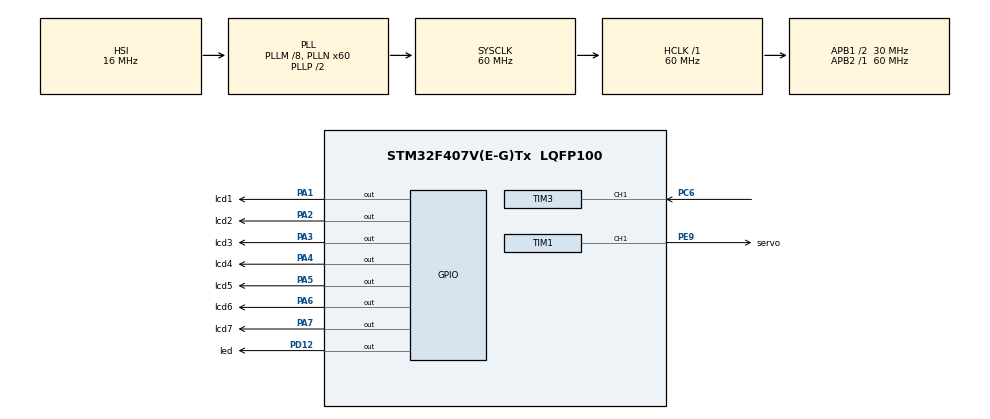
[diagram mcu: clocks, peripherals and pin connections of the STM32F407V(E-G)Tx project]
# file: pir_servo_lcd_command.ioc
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Mcu.Family=STM32F4
Mcu.Name=STM32F407V(E-G)Tx
Mcu.Package=LQFP100
NVIC.PriorityGroup=NVIC_PRIORITYGROUP_4
NVIC.TIM3_IRQn=true\:0\:0\:false\:false\:true\:true\:true\:true
PA1.GPIO_Label=lcd1
PA1.Signal=GPIO_Output
PA2.GPIO_Label=lcd2
PA2.Signal=GPIO_Output
PA3.GPIO_Label=lcd3
PA3.Signal=GPIO_Output
PA4.GPIO_Label=lcd4
PA4.Signal=GPIO_Output
PA5.GPIO_Label=lcd5
PA5.Signal=GPIO_Output
PA6.GPIO_Label=lcd6
PA6.Signal=GPIO_Output
PA7.GPIO_Label=lcd7
PA7.Signal=GPIO_Output
PC6.Signal=S_TIM3_CH1
PD12.GPIO_Label=led
PD12.Signal=GPIO_Output
PE9.GPIO_Label=servo
PE9.Signal=S_TIM1_CH1
ProjectManager.HeapSize=0x200
ProjectManager.StackSize=0x400
ProjectManager.TargetToolchain=STM32CubeIDE
RCC.48MHZClocksFreq_Value=30000000
RCC.AHBFreq_Value=60000000
RCC.APB1CLKDivider=RCC_HCLK_DIV2
RCC.APB1Freq_Value=30000000
RCC.APB1TimFreq_Value=60000000
RCC.APB2Freq_Value=60000000
RCC.APB2TimFreq_Value=60000000
RCC.CortexFreq_Value=60000000
RCC.HCLKFreq_Value=60000000
RCC.HSE_VALUE=25000000
RCC.HSI_VALUE=16000000
RCC.LSE_VALUE=32768
RCC.PLLM=8
RCC.PLLN=60
RCC.SYSCLKFreq_VALUE=60000000
RCC.SYSCLKSource=RCC_SYSCLKSOURCE_PLLCLK
RCC.VCOOutputFreq_Value=120000000
SH.S_TIM1_CH1.0=TIM1_CH1,PWM Generation1 CH1
SH.S_TIM3_CH1.0=TIM3_CH1,Input_Capture1_from_TI1
TIM1.Channel-PWM\ Generation1\ CH1=TIM_CHANNEL_1
TIM1.Period=1000-1
TIM1.Prescaler=1200-1
TIM2.Period=0xffff-1
TIM2.Prescaler=60-1
TIM3.Channel-Input_Capture1_from_TI1=TIM_CHANNEL_1
TIM3.Prescaler=60-1
VP_TIM1_VS_ClockSourceINT.Mode=Internal
VP_TIM2_VS_ClockSourceINT.Mode=Internal
board=custom

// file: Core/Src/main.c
/* USER CODE BEGIN Header */
/**
  ******************************************************************************
  * @file           : main.c
  * @brief          : Main program body
  ******************************************************************************
  * @attention
  *
  * Copyright (c) 2025 STMicroelectronics.
  * All rights reserved.
  *
  * This software is licensed under terms that can be found in the LICENSE file
  * in the root directory of this software component.
  * If no LICENSE file comes with this software, it is provided AS-IS.
  *
  ******************************************************************************
  */
/* USER CODE END Header */
#include "main.h"

/* USER CODE BEGIN Includes */
#include "lcd.h"// Include the LCD library
/* USER CODE END Includes */

TIM_HandleTypeDef htim1;
TIM_HandleTypeDef htim2;
TIM_HandleTypeDef htim3;

/* USER CODE BEGIN PV */
// IR decoding variables
volatile uint8_t bitCount=0;
volatile uint8_t isStartCaptured=0;
volatile uint32_t receivedData=0;
static volatile uint8_t isRisingCaptured=0;
static volatile uint32_t IC_Value=0;

// Flag to indicate 32-bit data received
volatile uint8_t dataReady = 0; // 32 bit alındığında veri gönderilsin diye

// Password and user input
int buttonNumber;
int password[4];// User input password
int acceptValue=0; // Number of digits entered
int passwordCorrect[4] = {0, 1, 2, 3};// Correct password

/* USER CODE END PV */

void SystemClock_Config(void);
static void MX_GPIO_Init(void);
static void MX_TIM1_Init(void);
static void MX_TIM2_Init(void);
static void MX_TIM3_Init(void);
/* USER CODE BEGIN PFP */
int IR_GetButtonNumber(uint32_t receivedData); // Function to map IR code to button number

/**
 * @brief  Timer Input Capture callback
 * @param  htim: Timer handle
 * @retval None
 *
 * This ISR handles IR input capture and decodes 32-bit data.
 * Data ready flag is set when a complete code is received.
 */
void HAL_TIM_IC_CaptureCallback(TIM_HandleTypeDef *htim)
{
    if (htim->Instance == TIM3) {// TIM3: IR input capture

        IC_Value = HAL_TIM_ReadCapturedValue(htim, TIM_CHANNEL_1);
        __HAL_TIM_SET_COUNTER(htim, 0); // Reset timer

        // Detect start bit
        if (bitCount == 0 && isStartCaptured == 0 && receivedData == 0) {
            isStartCaptured = 1;
        }
        else if (bitCount == 0 && isStartCaptured == 1 && receivedData == 0) {
            __HAL_TIM_SET_COUNTER(htim, 0);
            isStartCaptured = 2;
        }
        // Decode data bits
        else if (bitCount < 32) {
            IC_Value = HAL_TIM_ReadCapturedValue(htim, TIM_CHANNEL_1);
            __HAL_TIM_SET_COUNTER(htim, 0);

            // Logic '0'
            if (IC_Value > 800 && IC_Value < 1600) {
                receivedData &= ~(1 << bitCount);
            }
            // Logic '1'
            else if (IC_Value > 1800 && IC_Value < 2600) {
                receivedData |= (1 << bitCount);
            }

            bitCount++;
            // 32-bit code received
            if (bitCount == 32) {
                dataReady = 1; // <<< burada veri hazır işaretle
                HAL_TIM_IC_Stop_IT(&htim3, TIM_CHANNEL_1);
            }
        }
    }
}

/* USER CODE END PFP */

/* USER CODE BEGIN 0 */
/**
 * @brief  Convert 32-bit integer to hex string
 * @param  data: 32-bit data
 * @param  pData: Buffer to store hex string (minimum 10 bytes)
 */
void uint32_to_hex(uint32_t data, uint8_t *pData){
    for(int i=7; i>=0; i--){
        uint8_t nibble = (data >> (4*i)) & 0xF;
        pData[7-i] = (nibble < 10) ? ('0' + nibble) : ('A' + nibble - 10);
    }
    pData[8] = '\r';
    pData[9] = '\n';
}
/* USER CODE END 0 */

int main(void)
{

  /* MCU Configuration--------------------------------------------------------*/

  /* Reset of all peripherals, Initializes the Flash interface and the Systick. */
  HAL_Init();

  /* Configure the system clock */
  SystemClock_Config();

  /* Initialize all configured peripherals */
  MX_GPIO_Init();
  MX_TIM1_Init();
  MX_TIM2_Init();
  MX_TIM3_Init();
  /* USER CODE BEGIN 2 */
  HAL_TIM_IC_Start_IT(&htim3, TIM_CHANNEL_1);// Start IR capture interrupt
  HAL_TIM_PWM_Start(&htim1,TIM_CHANNEL_1);// Start servo PWM
  HAL_TIM_Base_Start(&htim2);// Start timer for LCD

  lcd_init(); // Initialize the LCD
  lcd_put_cur(0,0);
  lcd_send_string("Login password");// Display initial message

  //lcd_clear();// Clear LCD after greeting
  /* USER CODE END 2 */

  /* Infinite loop */
  while (1)
  {

    /* USER CODE BEGIN 3 */
	  if (dataReady) {// Process received IR data
		  buttonNumber = IR_GetButtonNumber(receivedData);

	      if (buttonNumber != 1001) {// Valid button
	          password[acceptValue] = buttonNumber;
	          acceptValue++;

	          if (acceptValue == 4) {// Check password
	              int isCorrect = 1;
	              for (int i = 0; i < 4; i++) {
	                  if (passwordCorrect[i] != password[i]) {
	                      isCorrect = 0;
	                      break;
	                  }
	              }
	              lcd_clear();
	              if (isCorrect) {

					  lcd_put_cur(0,0);
					  lcd_send_string("Correct password");
					  HAL_Delay(50);
					  // Open door sequence
					  __HAL_TIM_SET_COMPARE(&htim1, TIM_CHANNEL_1, 50);  // Move servo to open position
					  HAL_GPIO_WritePin(GPIOD, GPIO_PIN_12, GPIO_PIN_SET);  // Turn on LED
					  HAL_Delay(2000);
					  __HAL_TIM_SET_COMPARE(&htim1, TIM_CHANNEL_1, 75); // Stop servo
					  HAL_Delay(2000);
					  __HAL_TIM_SET_COMPARE(&htim1, TIM_CHANNEL_1, 100); // Move servo to close position
					  HAL_Delay(2000);
					  __HAL_TIM_SET_COMPARE(&htim1, TIM_CHANNEL_1, 75); // Stop servo
					  HAL_GPIO_WritePin(GPIOD, GPIO_PIN_12, GPIO_PIN_RESET); // Turn off LED
					  lcd_put_cur(0,0);
					  lcd_send_string("Login password  ");
					  HAL_Delay(50);
	              } else {
					  lcd_put_cur(0,0);
					  lcd_send_string("Wrong password");
					  HAL_Delay(50);

	              }

	              acceptValue = 0; // Reset input
	          }

	      }
	      // Display remaining digits
	      if(acceptValue!=0){
	    	  if(acceptValue!=0){
	    		  lcd_put_cur(0,0);
				  lcd_send_string("Remaining Number");
	    	  }
			  lcd_put_cur(1,0);
			  char buf[16];
			  sprintf(buf, "%d   ", 4-acceptValue);
			  lcd_send_string(buf);
			  HAL_Delay(50);

	      }

	      // Reset flags for next capture
	      bitCount = 0;
	      receivedData = 0;
	      isStartCaptured = 0;
	      dataReady = 0;
	      HAL_TIM_IC_Start_IT(&htim3, TIM_CHANNEL_1);
	  }
  }
  /* USER CODE END 3 */
}

void SystemClock_Config(void)
{
  RCC_OscInitTypeDef RCC_OscInitStruct = {0};
  RCC_ClkInitTypeDef RCC_ClkInitStruct = {0};

  /** Configure the main internal regulator output voltage
  */
  __HAL_RCC_PWR_CLK_ENABLE();
  __HAL_PWR_VOLTAGESCALING_CONFIG(PWR_REGULATOR_VOLTAGE_SCALE1);

  /** Initializes the RCC Oscillators according to the specified parameters
  * in the RCC_OscInitTypeDef structure.
  */
  RCC_OscInitStruct.OscillatorType = RCC_OSCILLATORTYPE_HSI;
  RCC_OscInitStruct.HSIState = RCC_HSI_ON;
  RCC_OscInitStruct.HSICalibrationValue = RCC_HSICALIBRATION_DEFAULT;
  RCC_OscInitStruct.PLL.PLLState = RCC_PLL_ON;
  RCC_OscInitStruct.PLL.PLLSource = RCC_PLLSOURCE_HSI;
  RCC_OscInitStruct.PLL.PLLM = 8;
  RCC_OscInitStruct.PLL.PLLN = 60;
  RCC_OscInitStruct.PLL.PLLP = RCC_PLLP_DIV2;
  RCC_OscInitStruct.PLL.PLLQ = 4;
  if (HAL_RCC_OscConfig(&RCC_OscInitStruct) != HAL_OK)
  {
    Error_Handler();
  }

  /** Initializes the CPU, AHB and APB buses clocks
  */
  RCC_ClkInitStruct.ClockType = RCC_CLOCKTYPE_HCLK|RCC_CLOCKTYPE_SYSCLK
                              |RCC_CLOCKTYPE_PCLK1|RCC_CLOCKTYPE_PCLK2;
  RCC_ClkInitStruct.SYSCLKSource = RCC_SYSCLKSOURCE_PLLCLK;
  RCC_ClkInitStruct.AHBCLKDivider = RCC_SYSCLK_DIV1;
  RCC_ClkInitStruct.APB1CLKDivider = RCC_HCLK_DIV2;
  RCC_ClkInitStruct.APB2CLKDivider = RCC_HCLK_DIV1;

  if (HAL_RCC_ClockConfig(&RCC_ClkInitStruct, FLASH_LATENCY_1) != HAL_OK)
  {
    Error_Handler();
  }
}

static void MX_TIM1_Init(void)
{

  TIM_ClockConfigTypeDef sClockSourceConfig = {0};
  TIM_MasterConfigTypeDef sMasterConfig = {0};
  TIM_OC_InitTypeDef sConfigOC = {0};
  TIM_BreakDeadTimeConfigTypeDef sBreakDeadTimeConfig = {0};

  htim1.Instance = TIM1;
  htim1.Init.Prescaler = 1200-1;
  htim1.Init.CounterMode = TIM_COUNTERMODE_UP;
  htim1.Init.Period = 1000-1;
  htim1.Init.ClockDivision = TIM_CLOCKDIVISION_DIV1;
  htim1.Init.RepetitionCounter = 0;
  htim1.Init.AutoReloadPreload = TIM_AUTORELOAD_PRELOAD_DISABLE;
  if (HAL_TIM_Base_Init(&htim1) != HAL_OK)
  {
    Error_Handler();
  }
  sClockSourceConfig.ClockSource = TIM_CLOCKSOURCE_INTERNAL;
  if (HAL_TIM_ConfigClockSource(&htim1, &sClockSourceConfig) != HAL_OK)
  {
    Error_Handler();
  }
  if (HAL_TIM_PWM_Init(&htim1) != HAL_OK)
  {
    Error_Handler();
  }
  sMasterConfig.MasterOutputTrigger = TIM_TRGO_RESET;
  sMasterConfig.MasterSlaveMode = TIM_MASTERSLAVEMODE_DISABLE;
  if (HAL_TIMEx_MasterConfigSynchronization(&htim1, &sMasterConfig) != HAL_OK)
  {
    Error_Handler();
  }
  sConfigOC.OCMode = TIM_OCMODE_PWM1;
  sConfigOC.Pulse = 0;
  sConfigOC.OCPolarity = TIM_OCPOLARITY_HIGH;
  sConfigOC.OCNPolarity = TIM_OCNPOLARITY_HIGH;
  sConfigOC.OCFastMode = TIM_OCFAST_DISABLE;
  sConfigOC.OCIdleState = TIM_OCIDLESTATE_RESET;
  sConfigOC.OCNIdleState = TIM_OCNIDLESTATE_RESET;
  if (HAL_TIM_PWM_ConfigChannel(&htim1, &sConfigOC, TIM_CHANNEL_1) != HAL_OK)
  {
    Error_Handler();
  }
  sBreakDeadTimeConfig.OffStateRunMode = TIM_OSSR_DISABLE;
  sBreakDeadTimeConfig.OffStateIDLEMode = TIM_OSSI_DISABLE;
  sBreakDeadTimeConfig.LockLevel = TIM_LOCKLEVEL_OFF;
  sBreakDeadTimeConfig.DeadTime = 0;
  sBreakDeadTimeConfig.BreakState = TIM_BREAK_DISABLE;
  sBreakDeadTimeConfig.BreakPolarity = TIM_BREAKPOLARITY_HIGH;
  sBreakDeadTimeConfig.AutomaticOutput = TIM_AUTOMATICOUTPUT_DISABLE;
  if (HAL_TIMEx_ConfigBreakDeadTime(&htim1, &sBreakDeadTimeConfig) != HAL_OK)
  {
    Error_Handler();
  }
  HAL_TIM_MspPostInit(&htim1);

}

static void MX_TIM2_Init(void)
{

  TIM_ClockConfigTypeDef sClockSourceConfig = {0};
  TIM_MasterConfigTypeDef sMasterConfig = {0};

  htim2.Instance = TIM2;
  htim2.Init.Prescaler = 60-1;
  htim2.Init.CounterMode = TIM_COUNTERMODE_UP;
  htim2.Init.Period = 0xffff-1;
  htim2.Init.ClockDivision = TIM_CLOCKDIVISION_DIV1;
  htim2.Init.AutoReloadPreload = TIM_AUTORELOAD_PRELOAD_DISABLE;
  if (HAL_TIM_Base_Init(&htim2) != HAL_OK)
  {
    Error_Handler();
  }
  sClockSourceConfig.ClockSource = TIM_CLOCKSOURCE_INTERNAL;
  if (HAL_TIM_ConfigClockSource(&htim2, &sClockSourceConfig) != HAL_OK)
  {
    Error_Handler();
  }
  sMasterConfig.MasterOutputTrigger = TIM_TRGO_RESET;
  sMasterConfig.MasterSlaveMode = TIM_MASTERSLAVEMODE_DISABLE;
  if (HAL_TIMEx_MasterConfigSynchronization(&htim2, &sMasterConfig) != HAL_OK)
  {
    Error_Handler();
  }

}

static void MX_TIM3_Init(void)
{

  TIM_MasterConfigTypeDef sMasterConfig = {0};
  TIM_IC_InitTypeDef sConfigIC = {0};

  htim3.Instance = TIM3;
  htim3.Init.Prescaler = 60-1;
  htim3.Init.CounterMode = TIM_COUNTERMODE_UP;
  htim3.Init.Period = 65535;
  htim3.Init.ClockDivision = TIM_CLOCKDIVISION_DIV1;
  htim3.Init.AutoReloadPreload = TIM_AUTORELOAD_PRELOAD_DISABLE;
  if (HAL_TIM_IC_Init(&htim3) != HAL_OK)
  {
    Error_Handler();
  }
  sMasterConfig.MasterOutputTrigger = TIM_TRGO_RESET;
  sMasterConfig.MasterSlaveMode = TIM_MASTERSLAVEMODE_DISABLE;
  if (HAL_TIMEx_MasterConfigSynchronization(&htim3, &sMasterConfig) != HAL_OK)
  {
    Error_Handler();
  }
  sConfigIC.ICPolarity = TIM_INPUTCHANNELPOLARITY_RISING;
  sConfigIC.ICSelection = TIM_ICSELECTION_DIRECTTI;
  sConfigIC.ICPrescaler = TIM_ICPSC_DIV1;
  sConfigIC.ICFilter = 0;
  if (HAL_TIM_IC_ConfigChannel(&htim3, &sConfigIC, TIM_CHANNEL_1) != HAL_OK)
  {
    Error_Handler();
  }

}

static void MX_GPIO_Init(void)
{
  GPIO_InitTypeDef GPIO_InitStruct = {0};

  /* GPIO Ports Clock Enable */
  __HAL_RCC_GPIOA_CLK_ENABLE();
  __HAL_RCC_GPIOE_CLK_ENABLE();
  __HAL_RCC_GPIOD_CLK_ENABLE();
  __HAL_RCC_GPIOC_CLK_ENABLE();

  /*Configure GPIO pin Output Level */
  HAL_GPIO_WritePin(GPIOA, lcd1_Pin|lcd2_Pin|lcd3_Pin|lcd4_Pin
                          |lcd5_Pin|lcd6_Pin|lcd7_Pin, GPIO_PIN_RESET);

  /*Configure GPIO pin Output Level */
  HAL_GPIO_WritePin(led_GPIO_Port, led_Pin, GPIO_PIN_RESET);

  /*Configure GPIO pins : lcd1_Pin lcd2_Pin lcd3_Pin lcd4_Pin
                           lcd5_Pin lcd6_Pin lcd7_Pin */
  GPIO_InitStruct.Pin = lcd1_Pin|lcd2_Pin|lcd3_Pin|lcd4_Pin
                          |lcd5_Pin|lcd6_Pin|lcd7_Pin;
  GPIO_InitStruct.Mode = GPIO_MODE_OUTPUT_PP;
  GPIO_InitStruct.Pull = GPIO_NOPULL;
  GPIO_InitStruct.Speed = GPIO_SPEED_FREQ_LOW;
  HAL_GPIO_Init(GPIOA, &GPIO_InitStruct);

  /*Configure GPIO pin : led_Pin */
  GPIO_InitStruct.Pin = led_Pin;
  GPIO_InitStruct.Mode = GPIO_MODE_OUTPUT_PP;
  GPIO_InitStruct.Pull = GPIO_NOPULL;
  GPIO_InitStruct.Speed = GPIO_SPEED_FREQ_LOW;
  HAL_GPIO_Init(led_GPIO_Port, &GPIO_InitStruct);

}

/* USER CODE BEGIN 4 */
int IR_GetButtonNumber(uint32_t receivedData)
{
    switch(receivedData)
    {
		case 0xBA45FF00: return 1;
		case 0xE917FC00: return 1;

		case 0xE51BFC00: return 2;
		case 0xB946FF00: return 2;

		case 0xB847FF00: return 3;
		case 0xE11FFC00: return 3;

		case 0xED13FC00: return 4;
		case 0xBB44FF00: return 4;

		case 0xFD03FC00: return 5;
		case 0xBF40FF00: return 5;

		case 0xBC43FF00: return 6;
		case 0xF10FFC00: return 6;

		case 0xF807FF00: return 7;

		case 0xA857FC00: return 8;
		case 0xEA15FF00: return 8;

		case 0xF609FF00: return 9;

		case 0xA45BFC00: return 15; // *
		case 0xE916FF00: return 15;

		case 0x9867FC00: return 0;
		case 0xE619FF00: return 0;

		case 0xC837FC00: return 16; // #
		case 0xF20DFF00: return 16;

		case 0xDC23FC00: return 10; // LEFT
		case 0xF708FF00: return 10;

		case 0x956BFC00: return 11; // RIGHT
		case 0xA55AFF00: return 11;

		case 0xE718FF00: return 12; // UP
		case 0x9C63FC00: return 12; // UP

		case 0xB54BFC00: return 13; // DOWN
		case 0xAD52FF00: return 13;

		case 0x000CFF000: return 14; // OK
		case 0xE31CFF00: return 14;
        default: return 1001; // UNKNOWN
    }
}

/* USER CODE END 4 */

void Error_Handler(void)
{
  __disable_irq();
  while (1)
  {
  }
}
